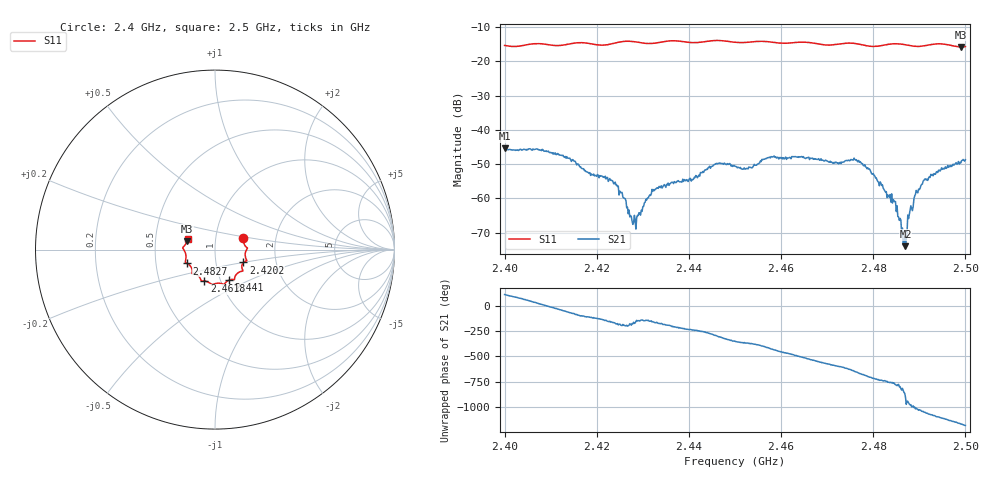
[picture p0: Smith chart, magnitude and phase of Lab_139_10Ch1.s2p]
# Hz S RI R 50
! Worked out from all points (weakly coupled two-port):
!   601 points, 2.4 GHz to 2.5 GHz, reference 50 ohm
!   highest |S21| = -45.41 dB at 2.4 GHz (marker M1); lowest = -73.9 dB at 2.487 GHz (marker M2)
!   lowest |S11| = -15.8 dB at 2.499 GHz (marker M3), VSWR 1.39, Z = 36.4 + j3.46 ohm
!   |S11| at or under -10 dB: start of sweep to end of sweep
!   S12 and S22 are empty: the file has one direction only
!   S11 on the Smith chart (normalised r, x): 2.4 GHz: 1.36, +0.18; 2.4202 GHz: 1.36, -0.20; 2.441 GHz: 1.10, -0.39; 2.4618 GHz: 0.84, -0.30; 2.4827 GHz: 0.72, -0.12; 2.5 GHz: 0.73, +0.09
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2.4e9  0.1585 0.0631  -0.00209 0.00494  0 0  0 0
2.408667e9  0.1782 0.00326  0.00486 0.000582  0 0  0 0
2.416667e9  0.1771 -0.0607  -0.000333 -0.00273  0 0  0 0
2.420167e9  0.1585 -0.0713  -0.00122 -0.00187  0 0  0 0
2.424167e9  0.1517 -0.108  -0.00157 -5.15e-05  0 0  0 0
2.428e9  0.1522 -0.1199  -0.000418 -0.000146  0 0  0 0
2.433333e9  0.1115 -0.1508  -0.00138 -0.000202  0 0  0 0
2.441e9  0.0789 -0.1698  -0.000996 0.00163  0 0  0 0
2.446e9  0.0498 -0.1951  0.00141 0.00293  0 0  0 0
2.45e9  0.0284 -0.1874  0.0029 0.0005  0 0  0 0
2.461833e9  -0.0591 -0.1754  -0.00157 -0.00364  0 0  0 0
2.466667e9  -0.0787 -0.1685  -0.0038 -0.000438  0 0  0 0
2.476333e9  -0.1272 -0.1285  0.00149 0.00336  0 0  0 0
2.482667e9  -0.1559 -0.0774  0.00114 -0.000481  0 0  0 0
2.483333e9  -0.1602 -0.0754  0.000874 -0.000608  0 0  0 0
2.484667e9  -0.1653 -0.0725  0.000538 -0.000717  0 0  0 0
2.486667e9  -0.1642 -0.0626  -0.000148 -0.000146  0 0  0 0
2.487e9  -0.1636 -0.0601  -0.0002 1.2e-05  0 0  0 0
2.488e9  -0.1618 -0.0498  -0.000126 0.00066  0 0  0 0
2.490833e9  -0.1669 -0.0135  0.00145 0.00104  0 0  0 0
2.499e9  -0.1555 0.0462  2.29e-05 -0.00329  0 0  0 0
2.5e9  -0.1522 0.0606  -0.000854 -0.00357  0 0  0 0
